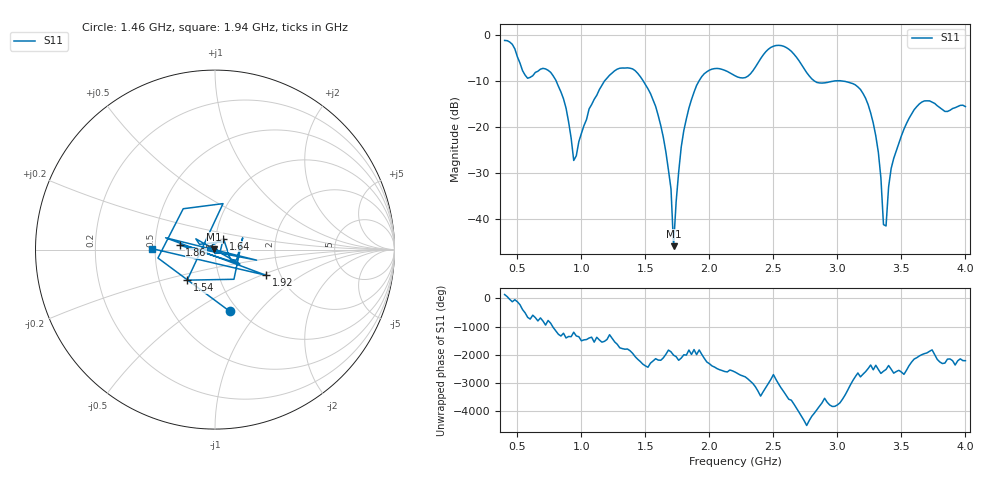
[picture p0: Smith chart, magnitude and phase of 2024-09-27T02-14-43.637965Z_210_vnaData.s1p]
!Created with skrf (http://scikit-rf.org).
# Hz S RI R 50.0
!freq ReS11 ImS11
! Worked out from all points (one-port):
!   181 points, 400 MHz to 4 GHz, reference 50 ohm
!   lowest |S11| = -45.9 dB at 1.72 GHz (marker M1), VSWR 1.01, Z = 49.6 + j0.264 ohm
!   |S11| at or under -10 dB: 802.7 MHz to 1.18 GHz (377.7 MHz wide, 38.1 % of centre); 1.483 GHz to 1.919 GHz (436 MHz wide, 25.6 % of centre); 3.036 GHz to end of sweep (the widest 3 of 4)
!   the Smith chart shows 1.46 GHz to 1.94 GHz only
!   S11 on the Smith chart (normalised r, x): 1.46 GHz: 0.91, -0.71; 1.54 GHz: 0.69, -0.25; 1.64 GHz: 1.09, +0.13; 1.86 GHz: 0.67, +0.03; 1.92 GHz: 1.69, -0.54; 1.94 GHz: 0.48, +0.01
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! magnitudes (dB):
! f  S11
! 400 MHz  -1.2
! 580 MHz  -9.4
! 740 MHz  -7.7
! 860 MHz  -13.9
! 940 MHz  -27.3
! 1.06 GHz  -16.1
! 1.3 GHz  -7.2
! 1.46 GHz  -9.0
! 1.54 GHz  -12.8
! 1.64 GHz  -22.3
! 1.7 GHz  -33.5
! 1.72 GHz  -45.9
! 1.76 GHz  -29.8
! 1.86 GHz  -14.0
! 1.92 GHz  -9.9
! 1.94 GHz  -9.1
! 2.2 GHz  -8.9
! 2.5 GHz  -2.4
! 2.66 GHz  -4.2
! 2.84 GHz  -10.3
! 3.1 GHz  -10.4
! 3.28 GHz  -19.1
! 3.32 GHz  -25.5
! 3.36 GHz  -41.2
! 3.38 GHz  -41.5
! 3.42 GHz  -29.0
! 3.56 GHz  -18.1
! 4 GHz  -15.6
